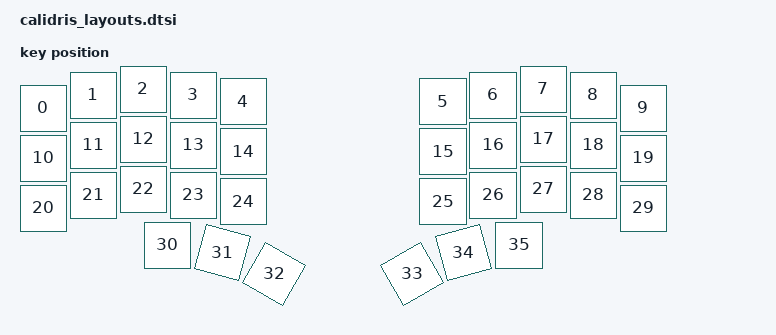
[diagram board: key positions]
#include <physical_layouts.dtsi>

/ {
    physical_layout0: physical_layout_0 {
        compatible = "zmk,physical-layout";
        display-name = "Default";

        kscan = <&kscan0>;
        transform = <&default_transform>;
        
        keys  //                     w   h    x    y     rot    rx    ry
            = <&key_physical_attrs 100 100    0   38       0     0     0>
            , <&key_physical_attrs 100 100  100   12       0     0     0>
            , <&key_physical_attrs 100 100  200    0       0     0     0>
            , <&key_physical_attrs 100 100  300   12       0     0     0>
            , <&key_physical_attrs 100 100  400   25       0     0     0>
            , <&key_physical_attrs 100 100  800   25       0     0     0>
            , <&key_physical_attrs 100 100  900   12       0     0     0>
            , <&key_physical_attrs 100 100 1000    0       0     0     0>
            , <&key_physical_attrs 100 100 1100   12       0     0     0>
            , <&key_physical_attrs 100 100 1200   38       0     0     0>
            , <&key_physical_attrs 100 100    0  138       0     0     0>
            , <&key_physical_attrs 100 100  100  112       0     0     0>
            , <&key_physical_attrs 100 100  200  100       0     0     0>
            , <&key_physical_attrs 100 100  300  112       0     0     0>
            , <&key_physical_attrs 100 100  400  125       0     0     0>
            , <&key_physical_attrs 100 100  800  125       0     0     0>
            , <&key_physical_attrs 100 100  900  112       0     0     0>
            , <&key_physical_attrs 100 100 1000  100       0     0     0>
            , <&key_physical_attrs 100 100 1100  112       0     0     0>
            , <&key_physical_attrs 100 100 1200  138       0     0     0>
            , <&key_physical_attrs 100 100    0  238       0     0     0>
            , <&key_physical_attrs 100 100  100  212       0     0     0>
            , <&key_physical_attrs 100 100  200  200       0     0     0>
            , <&key_physical_attrs 100 100  300  212       0     0     0>
            , <&key_physical_attrs 100 100  400  225       0     0     0>
            , <&key_physical_attrs 100 100  800  225       0     0     0>
            , <&key_physical_attrs 100 100  900  212       0     0     0>
            , <&key_physical_attrs 100 100 1000  200       0     0     0>
            , <&key_physical_attrs 100 100 1100  212       0     0     0>
            , <&key_physical_attrs 100 100 1200  238       0     0     0>
            , <&key_physical_attrs 100 100  248  312       0     0     0>
            , <&key_physical_attrs 100 100  248  312    1500   298   790>
            , <&key_physical_attrs 100 100  248  312    3000   298   790>
            , <&key_physical_attrs 100 100  952  312 (-3000)  1002   790>
            , <&key_physical_attrs 100 100  952  312 (-1500)  1002   790>
            , <&key_physical_attrs 100 100  952  312       0     0     0>
            ;
    };
};
